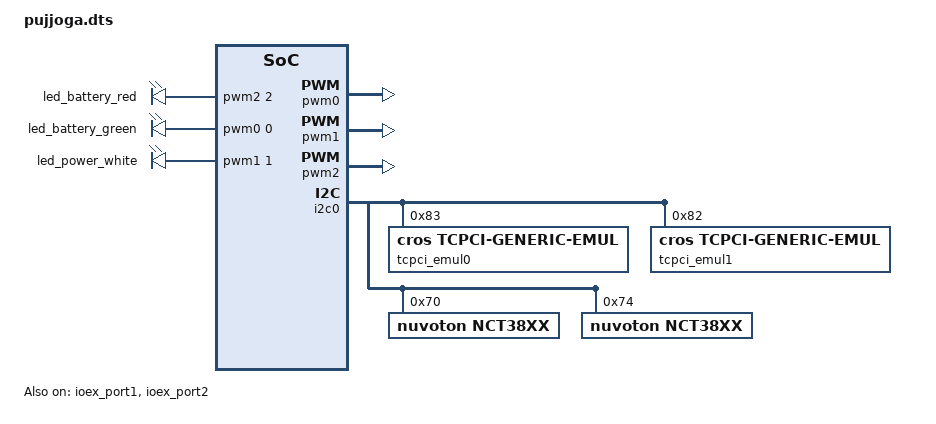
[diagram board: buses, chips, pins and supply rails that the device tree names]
/* Copyright 2024 The ChromiumOS Authors
 * Use of this source code is governed by a BSD-style license that can be
 * found in the LICENSE file.
 *
 * Device tree for a generic Nissa device based on a NPCX EC, suitable for board
 * unit tests.
 */
#include <dt-bindings/pwm/pwm.h>
#include <npcx_emul.dts>

#include "../program/nissa/cbi.dtsi"
#include "../program/nissa/pujjoga/motionsense.dtsi"

/ {
	aliases {
		/* type-A */
		gpio-en-usb-a1-vbus = &gpio_en_sub_usb_a1_vbus;
		/* HDMI */
		gpio-hdmi-en-odl = &gpio_ec_hdmi_pwr;

		gpio-wp = &gpio_ec_wp_odl;
	};

	named-gpios {
		compatible = "named-gpios";

		gpio_ec_soc_dsw_pwrok: ec_soc_dsw_pwrok {
			gpios = <&gpio6 1 GPIO_OUTPUT>;
		};

		gpio_ec_soc_hdmi_hpd: ec_soc_hdmi_hpd {
			gpios = <&gpioe 4 GPIO_OUTPUT>;
		};

		gpio_ec_wp_odl: ec_wp_odl {
			gpios = <&gpioa 1 (GPIO_INPUT | GPIO_ACTIVE_LOW)>;
		};

		entering_rw {
			gpios = <&gpio0 3 GPIO_OUTPUT>;
			enum-name = "GPIO_ENTERING_RW";
		};

		gpio_en_pp5000_pen: en_pp5000_pen {
			gpios = <&gpioe 2 GPIO_OUTPUT>;
		};

		gpio_en_sub_usb_a1_vbus: en_sub_usb_a1_vbus {
			gpios = <&gpiod 4 GPIO_OUTPUT>;
		};

		gpio_ec_hdmi_pwr: ec_hdmi_pwr {
			gpios = <&gpio3 3 GPIO_OUTPUT>;
		};

		gpio_usb_c0_ppc_int_odl: usb_c0_ppc_int_odl {
			gpios = <&gpio0 5 (GPIO_INPUT | GPIO_ACTIVE_LOW)>;
			enum-name = "GPIO_USB_C0_PPC_INT_ODL";
		};

		gpio_usb_c1_ppc_int_odl: usb_c1_ppc_int_odl {
			gpios = <&gpio0 6 (GPIO_INPUT | GPIO_ACTIVE_LOW)>;
			enum-name = "GPIO_USB_C1_PPC_INT_ODL";
		};

		gpio_imu_int_l: imu_int_l {
			gpios = <&gpio5 6 GPIO_INPUT>;
		};

		gpio_lid_open: lid_open {
			gpios = <&gpiod 2 GPIO_INPUT>;
			enum-name = "GPIO_LID_OPEN";
		};

		gpio_tablet_mode_l: tablet_mode_l {
			gpios = <&gpio9 5 GPIO_INPUT>;
			enum-name = "GPIO_TABLET_MODE_L";
		};

		acok_od: acok_od {
			gpios = <&gpio0 4 GPIO_INPUT>;
			enum-name = "GPIO_AC_PRESENT";
		};

		gpio_usb_c0_c1_tcpc_int_odl: usb_c0_c1_tcpc_int_odl {
			gpios = <&gpiob 7 (GPIO_INPUT | GPIO_ACTIVE_LOW)>;
			enum-name = "GPIO_USB_C0_C1_TCPC_INT_ODL";
		};

		gpio_usb_c0_c1_tcpc_rst_odl: usb_c0_c1_tcpc_rst_l {
			gpios = <&gpio7 3 (GPIO_ODR_HIGH | GPIO_ACTIVE_LOW)>;
			enum-name = "GPIO_USB_C0_C1_TCPC_RST_ODL";
		};

		gpio_power_led: power_led {
			gpios = <&gpioc 2 GPIO_OUTPUT_LOW>;
		};

		gpio_led_1_odl: led_1_odl {
			gpios = <&gpioc 4 GPIO_OUTPUT_LOW>;
		};

		gpio_led_2_odl: led_2_odl {
			gpios = <&gpioc 3 GPIO_OUTPUT_LOW>;
		};

		gpio_pen_detect_odl: pen_detect_odl {
			gpios = <&gpio9 6 GPIO_INPUT_PULL_UP>;
		};

		ioex_usb_c0_frs_en: usb_c0_frs_en {
			gpios = <&ioex_port1 6 GPIO_OUTPUT_LOW>;
			enum-name = "GPIO_USB_C0_FRS_EN";
		};

		ioex_usb_c1_frs_en: usb_c1_frs_en {
			gpios = <&ioex_port2 6 GPIO_OUTPUT_LOW>;
			enum-name = "GPIO_USB_C1_FRS_EN";
		};
	};

	gpio-interrupts {
		compatible = "cros-ec,gpio-interrupts";

		int_imu: ec_imu {
			irq-pin = <&gpio_imu_int_l>;
			flags = <GPIO_INT_EDGE_FALLING>;
			handler = "lsm6dsm_interrupt";
		};
		int_pen_det_l: pen_det_l {
			irq-pin = <&gpio_pen_detect_odl>;
			flags = <GPIO_INT_EDGE_BOTH>;
			handler = "pen_detect_interrupt";
		};
	};

	named-i2c-ports {
		compatible = "named-i2c-ports";
		i2c_ec_i2c_batt: ec_i2c_batt {
			i2c-port = <&i2c_ctrl7>;
			enum-names = "I2C_PORT_BATTERY";
		};
		i2c_ec_i2c_usb_c0: ec_i2c_usb_c0 {
			i2c-port = <&i2c0>;
			enum-names = "I2C_PORT_USB_C0_TCPC";
		};
		i2c_ec_i2c_sub_usb_c1: ec_i2c_sub_usb_c1 {
			i2c-port = <&i2c0>;
			enum-names = "I2C_PORT_USB_C1_TCPC";
		};
		i2c_ec_i2c_sensor: ec_i2c_sensor {
			i2c-port = <&i2c_ctrl1>;
			enum-names = "I2C_PORT_SENSOR";
		};
	};

	ioex_port1: gpio@1100 {
		status = "okay";
		compatible = "zephyr,gpio-emul";
		reg = <0x1100 0x4>;
		rising-edge;
		falling-edge;
		high-level;
		low-level;
		gpio-controller;
		#gpio-cells = <2>;
		ngpios = <8>;
	};

	ioex_port2: gpio@1200 {
		status = "okay";
		compatible = "zephyr,gpio-emul";
		reg = <0x1200 0x4>;
		rising-edge;
		falling-edge;
		high-level;
		low-level;
		gpio-controller;
		#gpio-cells = <2>;
		ngpios = <8>;
	};

	usba {
		compatible = "cros-ec,usba-port-enable-pins";
		enable-pins = <&gpio_en_sub_usb_a1_vbus>;
		status = "okay";
	};

	usbc {
		#address-cells = <1>;
		#size-cells = <0>;

		port0@0 {
			compatible = "named-usbc-port";
			reg = <0>;
			tcpc = <&tcpc_port0>;
			usb-mux-chain-0 {
				compatible = "cros-ec,usb-mux-chain";
				usb-muxes = <&virtual_mux_0>;
			};
		};
		port0-muxes {
			virtual_mux_0: virtual-mux-0 {
				compatible = "cros-ec,usbc-mux-virtual";
			};
		};
		/*
		 * TODO(b:211693800): port1 may not be present on some
		 * sub-boards.
		 */
		port1@1 {
			compatible = "named-usbc-port";
			reg = <1>;
			tcpc = <&tcpc_port1>;
			usb-mux-chain-1 {
				compatible = "cros-ec,usb-mux-chain";
				usb-muxes = <&virtual_mux_1>;
			};
		};
		port1-muxes {
			virtual_mux_1: virtual-mux-1 {
				compatible = "cros-ec,usbc-mux-virtual";
			};
		};
	};
	/* LEDs need to exist for testing, but aren't actually used. */
	led-pwms {
		#address-cells = <1>;
		#size-cells = <1>;

		pwm0: pwm@0 {
			compatible = "cros,pwm-mock";
			reg = <0 1>;
			#pwm-cells = <3>;
		};

		pwm1: pwm@1 {
			compatible = "cros,pwm-mock";
			reg = <0 1>;
			#pwm-cells = <3>;
		};

		pwm2: pwm@2 {
			compatible = "cros,pwm-mock";
			reg = <0 1>;
			#pwm-cells = <3>;
		};
	};
	pwmleds {
		compatible = "pwm-leds";
		led_battery_red: ec_led1_odl {
			pwms = <&pwm2 2 PWM_HZ(324) PWM_POLARITY_INVERTED>;
		};
		led_battery_green: ec_led2_odl {
			pwms = <&pwm0 0 PWM_HZ(324) PWM_POLARITY_INVERTED>;
		};
		led_power_white: ec_led3_odl {
			pwms = <&pwm1 1 PWM_HZ(324) PWM_POLARITY_INVERTED>;
		};
	};
};

&i2c0 {
	status = "okay";

	tcpci_emul0: tcpci_emul@83 {
		compatible = "cros,tcpci-generic-emul";
		status = "okay";
		reg = <0x83>;
	};

	tcpci_emul1: tcpci_emul@82 {
		compatible = "cros,tcpci-generic-emul";
		status = "okay";
		reg = <0x82>;
	};

	nct38xx@70 {
		compatible = "nuvoton,nct38xx";
		reg = <0x70>;
		tcpc_port0: nct38xx-tcpc {
			compatible = "cros,nct38xx-emul",
				"nuvoton,nct38xx-tcpc";
			rst-gpios = <&gpio7 3 0x7>;
		};
	};
	nct38xx@74 {
		compatible = "nuvoton,nct38xx";
		reg = <0x74>;
		tcpc_port1: nct38xx-tcpc {
			compatible = "cros,nct38xx-emul",
				"nuvoton,nct38xx-tcpc";
			rst-gpios = <&gpio7 3 0x7>;
		};
	};
};
